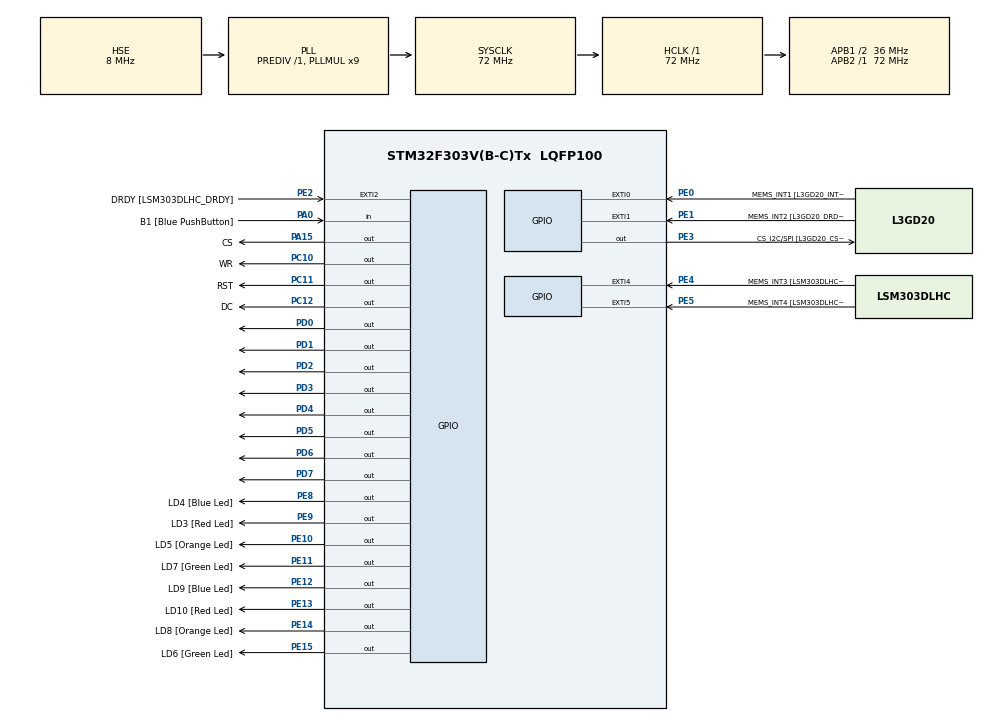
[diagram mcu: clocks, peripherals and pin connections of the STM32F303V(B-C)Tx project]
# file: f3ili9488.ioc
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Mcu.Family=STM32F3
Mcu.Name=STM32F303V(B-C)Tx
Mcu.Package=LQFP100
NVIC.PriorityGroup=NVIC_PRIORITYGROUP_0
PA0.GPIO_Label=B1 [Blue PushButton]
PA0.Signal=GPIO_Input
PA11.GPIO_Label=DM
PA11.Signal=USB_DM
PA12.GPIO_Label=DP
PA12.Signal=USB_DP
PA13.GPIO_Label=SWDIO
PA13.Mode=Serial_Wire
PA13.Signal=SYS_JTMS-SWDIO
PA14.GPIO_Label=SWCLK
PA14.Mode=Serial_Wire
PA14.Signal=SYS_JTCK-SWCLK
PA15.GPIO_Label=CS
PA15.GPIO_PuPd=GPIO_PULLUP
PA15.GPIO_Speed=GPIO_SPEED_FREQ_HIGH
PA15.Signal=GPIO_Output
PA5.GPIO_Label=SPI1_SCK [L3GD20_SCL/SPC]
PA5.Signal=SPI1_SCK
PA6.GPIO_Label=SPI1_MISO [L3GD20_SA0/SDO]
PA6.Signal=SPI1_MISO
PA7.GPIO_Label=SPI1_MISO [L3GD20_SDA/SDI/SDO]
PA7.Signal=SPI1_MOSI
PB3.GPIO_Label=SWO
PB3.Signal=SYS_JTDO-TRACESWO
PB6.GPIO_Label=I2C1_SCL [LSM303DLHC_SCL]
PB6.GPIO_Pu=GPIO_PULLUP
PB6.Signal=I2C1_SCL
PB7.GPIO_Label=I2C1_SDA [LSM303DLHC_SDA]
PB7.GPIO_Pu=GPIO_PULLUP
PB7.Signal=I2C1_SDA
PC10.GPIO_Label=WR
PC10.GPIO_PuPd=GPIO_PULLUP
PC10.GPIO_Speed=GPIO_SPEED_FREQ_HIGH
PC10.Signal=GPIO_Output
PC11.GPIO_Label=RST
PC11.GPIO_PuPd=GPIO_PULLUP
PC11.GPIO_Speed=GPIO_SPEED_FREQ_HIGH
PC11.Signal=GPIO_Output
PC12.GPIO_Label=DC
PC12.GPIO_PuPd=GPIO_PULLUP
PC12.GPIO_Speed=GPIO_SPEED_FREQ_HIGH
PC12.Signal=GPIO_Output
PC14-OSC32_IN.GPIO_Label=OSC32_IN
PC14-OSC32_IN.Signal=RCC_OSC32_IN
PC15-OSC32_OUT.GPIO_Label=OSC32_OUT
PC15-OSC32_OUT.Signal=RCC_OSC32_OUT
PD0.GPIO_PuPd=GPIO_PULLUP
PD0.GPIO_Speed=GPIO_SPEED_FREQ_HIGH
PD0.Signal=GPIO_Output
PD1.GPIO_PuPd=GPIO_PULLUP
PD1.GPIO_Speed=GPIO_SPEED_FREQ_HIGH
PD1.Signal=GPIO_Output
PD2.GPIO_PuPd=GPIO_PULLUP
PD2.GPIO_Speed=GPIO_SPEED_FREQ_HIGH
PD2.Signal=GPIO_Output
PD3.GPIO_PuPd=GPIO_PULLUP
PD3.GPIO_Speed=GPIO_SPEED_FREQ_HIGH
PD3.Signal=GPIO_Output
PD4.GPIO_PuPd=GPIO_PULLUP
PD4.GPIO_Speed=GPIO_SPEED_FREQ_HIGH
PD4.Signal=GPIO_Output
PD5.GPIO_PuPd=GPIO_PULLUP
PD5.GPIO_Speed=GPIO_SPEED_FREQ_HIGH
PD5.Signal=GPIO_Output
PD6.GPIO_PuPd=GPIO_PULLUP
PD6.GPIO_Speed=GPIO_SPEED_FREQ_HIGH
PD6.Signal=GPIO_Output
PD7.GPIO_PuPd=GPIO_PULLUP
PD7.GPIO_Speed=GPIO_SPEED_FREQ_HIGH
PD7.Signal=GPIO_Output
PE0.GPIO_Label=MEMS_INT1 [L3GD20_INT1]
PE0.GPIO_ModeDefaultEXTI=GPIO_MODE_EVT_RISING
PE0.Signal=GPXTI0
PE1.GPIO_Label=MEMS_INT2 [L3GD20_DRDY/INT2]
PE1.GPIO_ModeDefaultEXTI=GPIO_MODE_EVT_RISING
PE1.Signal=GPXTI1
PE10.GPIO_Label=LD5 [Orange Led]
PE10.Signal=GPIO_Output
PE11.GPIO_Label=LD7 [Green Led]
PE11.Signal=GPIO_Output
PE12.GPIO_Label=LD9 [Blue Led]
PE12.Signal=GPIO_Output
PE13.GPIO_Label=LD10 [Red Led]
PE13.Signal=GPIO_Output
PE14.GPIO_Label=LD8 [Orange Led]
PE14.Signal=GPIO_Output
PE15.GPIO_Label=LD6 [Green Led]
PE15.Signal=GPIO_Output
PE2.GPIO_Label=DRDY [LSM303DLHC_DRDY]
PE2.GPIO_ModeDefaultEXTI=GPIO_MODE_EVT_RISING
PE2.Signal=GPXTI2
PE3.GPIO_Label=CS_I2C/SPI [L3GD20_CS_I2C/SPI]
PE3.Signal=GPIO_Output
PE4.GPIO_Label=MEMS_INT3 [LSM303DLHC_INT1]
PE4.GPIO_ModeDefaultEXTI=GPIO_MODE_EVT_RISING
PE4.Signal=GPXTI4
PE5.GPIO_Label=MEMS_INT4 [LSM303DLHC_INT2]
PE5.GPIO_ModeDefaultEXTI=GPIO_MODE_EVT_RISING
PE5.Signal=GPXTI5
PE8.GPIO_Label=LD4 [Blue Led]
PE8.Signal=GPIO_Output
PE9.GPIO_Label=LD3 [Red Led]
PE9.Signal=GPIO_Output
PF0-OSC_IN.GPIO_Label=OSC_IN
PF0-OSC_IN.Mode=HSE-External-Clock-Source
PF0-OSC_IN.Signal=RCC_OSC_IN
PF1-OSC_OUT.GPIO_Label=OSC_OUT
PF1-OSC_OUT.Signal=RCC_OSC_OUT
ProjectManager.HeapSize=0x200
ProjectManager.StackSize=0x400
ProjectManager.TargetToolchain=STM32CubeIDE
RCC.AHBFreq_Value=72000000
RCC.APB1CLKDivider=RCC_HCLK_DIV2
RCC.APB1Freq_Value=36000000
RCC.APB1TimFreq_Value=72000000
RCC.APB2Freq_Value=72000000
RCC.APB2TimFreq_Value=72000000
RCC.CortexFreq_Value=72000000
RCC.HCLKFreq_Value=72000000
RCC.HSE_VALUE=8000000
RCC.HSI_VALUE=8000000
RCC.LSE_VALUE=32768
RCC.PLLMUL=RCC_PLL_MUL9
RCC.PLLSourceVirtual=RCC_PLLSOURCE_HSE
RCC.SYSCLKFreq_VALUE=72000000
RCC.SYSCLKSourceVirtual=RCC_SYSCLKSOURCE_PLLCLK
RCC.USBFreq_Value=72000000
board=STM32F3DISCOVERY

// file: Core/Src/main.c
/* USER CODE BEGIN Header */
/**
  ******************************************************************************
  * @file           : main.c
  * @brief          : Main program body
  ******************************************************************************
  * @attention
  *
  * Copyright (c) 2022 STMicroelectronics.
  * All rights reserved.
  *
  * This software is licensed under terms that can be found in the LICENSE file
  * in the root directory of this software component.
  * If no LICENSE file comes with this software, it is provided AS-IS.
  *
  ******************************************************************************
  */
/* USER CODE END Header */
#include "main.h"

/* USER CODE BEGIN Includes */
#include "ILI9488.h"
#include "HR_FONTX2.h"

/* USER CODE END Includes */

/* USER CODE BEGIN PV */
IMPORT_BIN(".rodata","../Drivers/font/SHGZN12X.FNT",ZenFont);
IMPORT_BIN(".rodata","../Drivers/font/SHNHN12X.FNT",HanFont);
extern const uint8_t ZenFont[], _sizeof_ZenFont[];
extern const uint8_t HanFont[], _sizeof_HanFont[];

/* USER CODE END PV */

void SystemClock_Config(void);
static void MX_GPIO_Init(void);

/* USER CODE BEGIN 0 */
uint8_t sbuf[64];

void lcdwrite(uint16_t x, uint16_t y, uint16_t col) {
	ILI9488_drawRect(x, y, 1, 1, col);
}

void readZ(uint32_t off,uint32_t size,uint8_t* buf){
	memcpy(buf,ZenFont+off,size);
}

void readH(uint32_t off,uint32_t size,uint8_t* buf){
	memcpy(buf,HanFont+off,size);
}

/* USER CODE END 0 */

int main(void)
{

  /* MCU Configuration--------------------------------------------------------*/

  /* Reset of all peripherals, Initializes the Flash interface and the Systick. */
  HAL_Init();

  /* Configure the system clock */
  SystemClock_Config();

  /* Initialize all configured peripherals */
  MX_GPIO_Init();

  /* Infinite loop */
  /* USER CODE BEGIN WHILE */
  ILI9488_init();
  ILI9488_drawRect(0, 0, 480, 320, RGB565(0,0,0));
	void (*writedot)(uint16_t x, uint16_t y, uint16_t color) = lcdwrite;
	void (*_readHFont)(uint32_t offset,uint32_t size,uint8_t* out) = readH;
	void (*_readZFont)(uint32_t offset,uint32_t size,uint8_t* out) = readZ;

	if(!HR_FONTX2_init(_readHFont,_readZFont,writedot))
		while(1);
	HR_FONTX2_writeString("���{��e�X�g��English", 200, 0, 0xffff);
  while (1)
  {
    /* USER CODE END WHILE */

  }
}

void SystemClock_Config(void)
{
  RCC_OscInitTypeDef RCC_OscInitStruct = {0};
  RCC_ClkInitTypeDef RCC_ClkInitStruct = {0};

  /** Initializes the RCC Oscillators according to the specified parameters
  * in the RCC_OscInitTypeDef structure.
  */
  RCC_OscInitStruct.OscillatorType = RCC_OSCILLATORTYPE_HSE;
  RCC_OscInitStruct.HSEState = RCC_HSE_BYPASS;
  RCC_OscInitStruct.HSEPredivValue = RCC_HSE_PREDIV_DIV1;
  RCC_OscInitStruct.HSIState = RCC_HSI_ON;
  RCC_OscInitStruct.PLL.PLLState = RCC_PLL_ON;
  RCC_OscInitStruct.PLL.PLLSource = RCC_PLLSOURCE_HSE;
  RCC_OscInitStruct.PLL.PLLMUL = RCC_PLL_MUL9;
  if (HAL_RCC_OscConfig(&RCC_OscInitStruct) != HAL_OK)
  {
    Error_Handler();
  }

  /** Initializes the CPU, AHB and APB buses clocks
  */
  RCC_ClkInitStruct.ClockType = RCC_CLOCKTYPE_HCLK|RCC_CLOCKTYPE_SYSCLK
                              |RCC_CLOCKTYPE_PCLK1|RCC_CLOCKTYPE_PCLK2;
  RCC_ClkInitStruct.SYSCLKSource = RCC_SYSCLKSOURCE_PLLCLK;
  RCC_ClkInitStruct.AHBCLKDivider = RCC_SYSCLK_DIV1;
  RCC_ClkInitStruct.APB1CLKDivider = RCC_HCLK_DIV2;
  RCC_ClkInitStruct.APB2CLKDivider = RCC_HCLK_DIV1;

  if (HAL_RCC_ClockConfig(&RCC_ClkInitStruct, FLASH_LATENCY_2) != HAL_OK)
  {
    Error_Handler();
  }
}

static void MX_GPIO_Init(void)
{
  GPIO_InitTypeDef GPIO_InitStruct = {0};

  /* GPIO Ports Clock Enable */
  __HAL_RCC_GPIOE_CLK_ENABLE();
  __HAL_RCC_GPIOC_CLK_ENABLE();
  __HAL_RCC_GPIOF_CLK_ENABLE();
  __HAL_RCC_GPIOA_CLK_ENABLE();
  __HAL_RCC_GPIOD_CLK_ENABLE();
  __HAL_RCC_GPIOB_CLK_ENABLE();

  /*Configure GPIO pin Output Level */
  HAL_GPIO_WritePin(GPIOE, CS_I2C_SPI_Pin|LD4_Pin|LD3_Pin|LD5_Pin
                          |LD7_Pin|LD9_Pin|LD10_Pin|LD8_Pin
                          |LD6_Pin, GPIO_PIN_RESET);

  /*Configure GPIO pin Output Level */
  HAL_GPIO_WritePin(CS_GPIO_Port, CS_Pin, GPIO_PIN_RESET);

  /*Configure GPIO pin Output Level */
  HAL_GPIO_WritePin(GPIOC, WR_Pin|RST_Pin|DC_Pin, GPIO_PIN_RESET);

  /*Configure GPIO pin Output Level */
  HAL_GPIO_WritePin(GPIOD, GPIO_PIN_0|GPIO_PIN_1|GPIO_PIN_2|GPIO_PIN_3
                          |GPIO_PIN_4|GPIO_PIN_5|GPIO_PIN_6|GPIO_PIN_7, GPIO_PIN_RESET);

  /*Configure GPIO pins : DRDY_Pin MEMS_INT3_Pin MEMS_INT4_Pin MEMS_INT1_Pin
                           MEMS_INT2_Pin */
  GPIO_InitStruct.Pin = DRDY_Pin|MEMS_INT3_Pin|MEMS_INT4_Pin|MEMS_INT1_Pin
                          |MEMS_INT2_Pin;
  GPIO_InitStruct.Mode = GPIO_MODE_EVT_RISING;
  GPIO_InitStruct.Pull = GPIO_NOPULL;
  HAL_GPIO_Init(GPIOE, &GPIO_InitStruct);

  /*Configure GPIO pins : CS_I2C_SPI_Pin LD4_Pin LD3_Pin LD5_Pin
                           LD7_Pin LD9_Pin LD10_Pin LD8_Pin
                           LD6_Pin */
  GPIO_InitStruct.Pin = CS_I2C_SPI_Pin|LD4_Pin|LD3_Pin|LD5_Pin
                          |LD7_Pin|LD9_Pin|LD10_Pin|LD8_Pin
                          |LD6_Pin;
  GPIO_InitStruct.Mode = GPIO_MODE_OUTPUT_PP;
  GPIO_InitStruct.Pull = GPIO_NOPULL;
  GPIO_InitStruct.Speed = GPIO_SPEED_FREQ_LOW;
  HAL_GPIO_Init(GPIOE, &GPIO_InitStruct);

  /*Configure GPIO pin : B1_Pin */
  GPIO_InitStruct.Pin = B1_Pin;
  GPIO_InitStruct.Mode = GPIO_MODE_INPUT;
  GPIO_InitStruct.Pull = GPIO_NOPULL;
  HAL_GPIO_Init(B1_GPIO_Port, &GPIO_InitStruct);

  /*Configure GPIO pins : SPI1_SCK_Pin SPI1_MISO_Pin SPI1_MISOA7_Pin */
  GPIO_InitStruct.Pin = SPI1_SCK_Pin|SPI1_MISO_Pin|SPI1_MISOA7_Pin;
  GPIO_InitStruct.Mode = GPIO_MODE_AF_PP;
  GPIO_InitStruct.Pull = GPIO_NOPULL;
  GPIO_InitStruct.Speed = GPIO_SPEED_FREQ_HIGH;
  GPIO_InitStruct.Alternate = GPIO_AF5_SPI1;
  HAL_GPIO_Init(GPIOA, &GPIO_InitStruct);

  /*Configure GPIO pins : DM_Pin DP_Pin */
  GPIO_InitStruct.Pin = DM_Pin|DP_Pin;
  GPIO_InitStruct.Mode = GPIO_MODE_AF_PP;
  GPIO_InitStruct.Pull = GPIO_NOPULL;
  GPIO_InitStruct.Speed = GPIO_SPEED_FREQ_HIGH;
  GPIO_InitStruct.Alternate = GPIO_AF14_USB;
  HAL_GPIO_Init(GPIOA, &GPIO_InitStruct);

  /*Configure GPIO pin : CS_Pin */
  GPIO_InitStruct.Pin = CS_Pin;
  GPIO_InitStruct.Mode = GPIO_MODE_OUTPUT_PP;
  GPIO_InitStruct.Pull = GPIO_PULLUP;
  GPIO_InitStruct.Speed = GPIO_SPEED_FREQ_HIGH;
  HAL_GPIO_Init(CS_GPIO_Port, &GPIO_InitStruct);

  /*Configure GPIO pins : WR_Pin RST_Pin DC_Pin */
  GPIO_InitStruct.Pin = WR_Pin|RST_Pin|DC_Pin;
  GPIO_InitStruct.Mode = GPIO_MODE_OUTPUT_PP;
  GPIO_InitStruct.Pull = GPIO_PULLUP;
  GPIO_InitStruct.Speed = GPIO_SPEED_FREQ_HIGH;
  HAL_GPIO_Init(GPIOC, &GPIO_InitStruct);

  /*Configure GPIO pins : PD0 PD1 PD2 PD3
                           PD4 PD5 PD6 PD7 */
  GPIO_InitStruct.Pin = GPIO_PIN_0|GPIO_PIN_1|GPIO_PIN_2|GPIO_PIN_3
                          |GPIO_PIN_4|GPIO_PIN_5|GPIO_PIN_6|GPIO_PIN_7;
  GPIO_InitStruct.Mode = GPIO_MODE_OUTPUT_PP;
  GPIO_InitStruct.Pull = GPIO_PULLUP;
  GPIO_InitStruct.Speed = GPIO_SPEED_FREQ_HIGH;
  HAL_GPIO_Init(GPIOD, &GPIO_InitStruct);

  /*Configure GPIO pins : I2C1_SCL_Pin I2C1_SDA_Pin */
  GPIO_InitStruct.Pin = I2C1_SCL_Pin|I2C1_SDA_Pin;
  GPIO_InitStruct.Mode = GPIO_MODE_AF_OD;
  GPIO_InitStruct.Pull = GPIO_PULLUP;
  GPIO_InitStruct.Speed = GPIO_SPEED_FREQ_HIGH;
  GPIO_InitStruct.Alternate = GPIO_AF4_I2C1;
  HAL_GPIO_Init(GPIOB, &GPIO_InitStruct);

}

void Error_Handler(void)
{
  __disable_irq();
  while (1)
  {
  }
}
